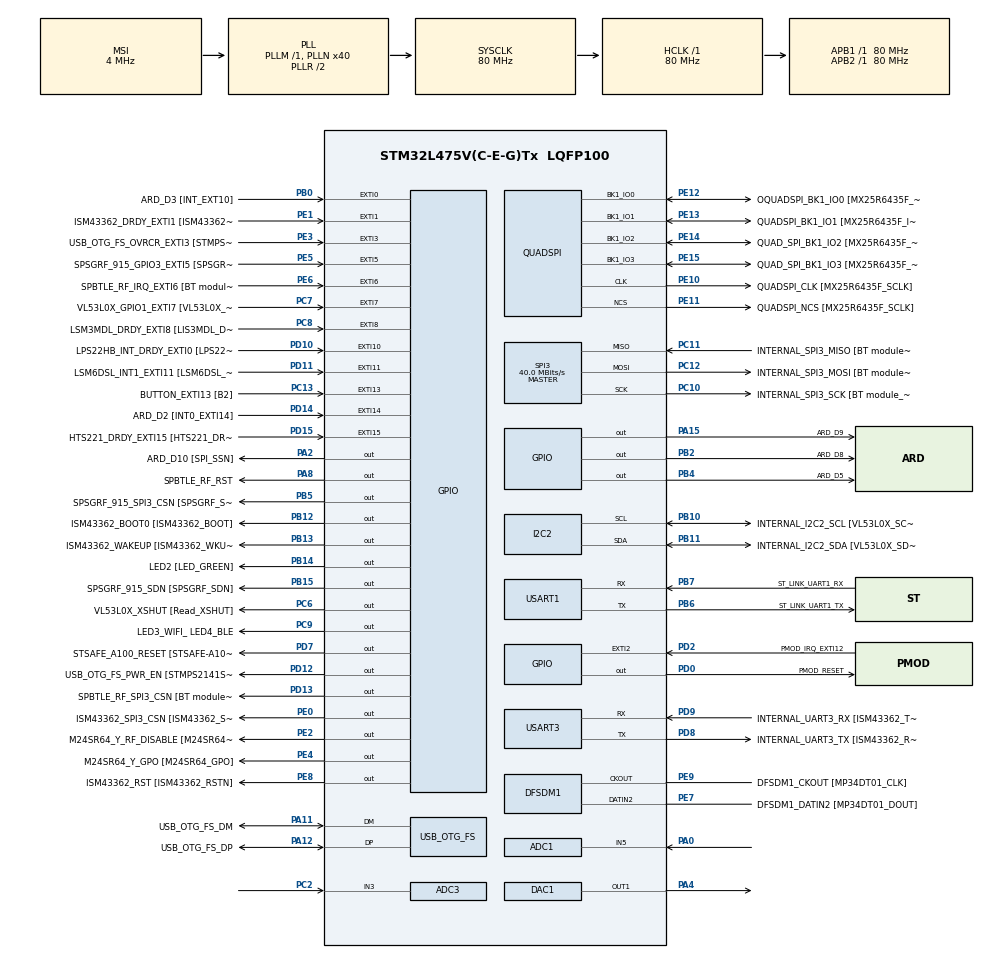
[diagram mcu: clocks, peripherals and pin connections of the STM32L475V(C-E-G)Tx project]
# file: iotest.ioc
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PD12.GPIO_Label=USB_OTG_FS_PWR_EN [STMPS2141STR_EN]
SPI3.Direction=SPI_DIRECTION_2LINES
SPI3.VirtualType=VM_MASTER
QUADSPI.ClockPrescaler=2
PB10.Mode=I2C
PC12.Signal=SPI3_MOSI
PB14.GPIO_Label=LED2 [LED_GREEN]
PC6.GPIO_Label=VL53L0X_XSHUT [Read_XSHUT]
PA6.GPIO_Label=ARD_D12 [SPI1_MISO]
PB6.GPIO_Label=ST_LINK_UART1_TX
PA15\ (JTDI).Signal=GPIO_Output
PC15-OSC32_OUT\ (PC15).Mode=LSE-External-Oscillator
PB13.Signal=GPIO_Output
PD6.GPIO_Label=PMOD_UART2_RX
PE6.GPIO_Label=SPBTLE_RF_IRQ_EXTI6 [BT module_SPI_IRQ]
RCC.SYSCLKSource=RCC_SYSCLKSOURCE_PLLCLK
PC14-OSC32_IN\ (PC14).Mode=LSE-External-Oscillator
SH.ADCx_IN16.0=ADC1_IN16
USART3.VirtualMode-Asynchronous=VM_ASYNC
PA14\ (JTCK-SWCLK).Signal=SYS_JTCK-SWCLK
PD4.Signal=USART2_RTS
RCC.APB2TimFreq_Value=80000000
PB6.Signal=USART1_TX
PC7.Signal=GPXTI7
PB6.Mode=Asynchronous
PC3.Signal=ADCx_IN4
PD0.Signal=GPIO_Output
PD8.Signal=USART3_TX
PE5.Signal=GPXTI5
PE1.Signal=GPXTI1
QUADSPI.FlashSize=23
NVIC.EXTI15_10_IRQn=true\:0\:0\:false\:false\:true\:true\:true
PB2.Signal=GPIO_Output
ADC3.SamplingTime-2\#ChannelRegularConversion=ADC_SAMPLETIME_2CYCLES_5
PD1.GPIO_Label=PMOD_SPI2_SCK
PB12.GPIO_Label=ISM43362_BOOT0 [ISM43362_BOOT]
PC4.GPIO_Label=ARD_A1 [ADC]
PE9.Signal=S_CKOUTDFSDM1
PB1.GPIO_Label=ARD_D6 [ADC1_IN6]
PE4.GPIO_Label=M24SR64_Y_GPO [M24SR64_GPO]
SH.ADCx_IN8.0=ADC2_IN8
PE2.Signal=GPIO_Output
PA8.Signal=GPIO_Output
PE13.Mode=Single Bank
ADC3.Channel-2\#ChannelRegularConversion=ADC_CHANNEL_3
PE10.Signal=QUADSPI_CLK
ADC1.SamplingTime-0\#ChannelRegularConversion=ADC_SAMPLETIME_2CYCLES_5
PA0.Signal=ADCx_IN5
Mcu.Package=LQFP100
PB9.Signal=I2C1_SDA
PB1.Signal=ADCx_IN16
SPI3.Mode=SPI_MODE_MASTER
SH.ADCx_IN14.0=ADC1_IN14
PD12.Signal=GPIO_Output
PA10.Signal=USB_OTG_FS_ID
PE12.GPIO_Label=OQUADSPI_BK1_IO0 [MX25R6435F_IO0]
PC11.Mode=Full_Duplex_Master
RCC.APB1TimFreq_Value=80000000
ADC3.OffsetNumber-2\#ChannelRegularConversion=ADC_OFFSET_NONE
PA13\ (JTMS-SWDIO).Signal=SYS_JTMS-SWDIO
PE10.GPIO_Label=QUADSPI_CLK [MX25R6435F_SCLK]
PD15.Signal=GPXTI15
PE12.Mode=Single Bank
ADC1.Rank-0\#ChannelRegularConversion=1
PD9.GPIO_Label=INTERNAL_UART3_RX [ISM43362_TX]
ADC1.OffsetNumber-0\#ChannelRegularConversion=ADC_OFFSET_NONE
PA9.GPIO_Label=USB_OTG_FS_VBUS [STMPS2141STR_OUT]
PC13.Signal=GPXTI13
PD3.Signal=USART2_CTS
PC6.Signal=GPIO_Output
PE10.Mode=Single Bank
PC2.Signal=ADCx_IN3
PB11.GPIO_Label=INTERNAL_I2C2_SDA [VL53L0X_SDA]
PD7.Signal=GPIO_Output
PD1.Signal=SPI2_SCK
PA11.GPIO_Label=USB_OTG_FS_DM
PC0.Signal=ADCx_IN1
PD10.Signal=GPXTI10
PB8.GPIO_Label=ARD_D15 [I2C1_SCL]
PA8.GPIO_Label=SPBTLE_RF_RST
PB11.Mode=I2C
SH.COMP_DAC11_group.0=DAC1_OUT1,DAC_OUT1_ExtAndInt
PE8.GPIO_Label=ISM43362_RST [ISM43362_RSTN]
PA9.Signal=USB_OTG_FS_VBUS
PE9.GPIO_Label=DFSDM1_CKOUT [MP34DT01_CLK]
PD8.Mode=Asynchronous
PB10.Signal=I2C2_SCL
PB14.Signal=GPIO_Output
PA5.Signal=SPI1_SCK
PC12.Mode=Full_Duplex_Master
PE1.GPIO_Label=ISM43362_DRDY_EXTI1 [ISM43362_DATARDY]
PE14.Signal=QUADSPI_BK1_IO2
PE15.Signal=QUADSPI_BK1_IO3
PB15.GPIO_Label=SPSGRF_915_SDN [SPSGRF_SDN]
PE8.Signal=GPIO_Output
PA1.GPIO_Label=ARD_D0 [UART4_RX]
SH.ADCx_IN4.0=ADC3_IN4
QUADSPI.FifoThreshold=4
PC7.GPIO_Label=VL53L0X_GPIO1_EXTI7 [VL53L0X_GPIO1]
PA13\ (JTMS-SWDIO).Mode=Serial_Wire
PA4.Signal=COMP_DAC11_group
PB5.Signal=GPIO_Output
ADC1.master=1
PE13.GPIO_Label=QUADSPI_BK1_IO1 [MX25R6435F_IO1]
PA5.GPIO_Label=ARD_D13 [SPI1_SCK]
PD11.Signal=GPXTI11
PE5.GPIO_Label=SPSGRF_915_GPIO3_EXTI5 [SPSGRF_GPIO_3]
PC12.GPIO_Label=INTERNAL_SPI3_MOSI [BT module_SPI_MOSI] [ISM43362_MOSI]
PA11.Signal=USB_OTG_FS_DM
ProjectManager.HeapSize=0x200
SH.ADCx_IN5.0=ADC1_IN5,IN5-Single-Ended
NVIC.PriorityGroup=NVIC_PRIORITYGROUP_4
PE3.Signal=GPXTI3
PB4\ (NJTRST).GPIO_Label=ARD_D5
PD2.Signal=GPXTI2
PB0.Signal=GPXTI0
PC1.Signal=ADCx_IN2
PD2.GPIO_Label=PMOD_IRQ_EXTI12
PE15.Mode=Single Bank
Mcu.Family=STM32L4
RCC.CortexFreq_Value=80000000
PE11.GPIO_Label=QUADSPI_NCS [MX25R6435F_SCLK]
SH.ADCx_IN2.0=ADC1_IN2
PC10.Signal=SPI3_SCK
I2C2.Timing=0x10909CEC
PD0.GPIO_Label=PMOD_RESET
PA11.Mode=Device_Only
PB0.GPIO_Label=ARD_D3 [INT_EXT10]
PC13.GPIO_Label=BUTTON_EXTI13 [B2]
PB13.GPIO_Label=ISM43362_WAKEUP [ISM43362_WKUP]
PB11.Signal=I2C2_SDA
PB15.Signal=GPIO_Output
PD9.Mode=Asynchronous
ADC3.Rank-2\#ChannelRegularConversion=1
ProjectManager.StackSize=0x400
PB3\ (JTDO-TRACESWO).Signal=SYS_JTDO-SWO
PD13.Signal=GPIO_Output
PA12.Signal=USB_OTG_FS_DP
PE11.Mode=Single Bank
PD11.GPIO_Label=LSM6DSL_INT1_EXTI11 [LSM6DSL_INT1]
RCC.HCLKFreq_Value=80000000
SH.ADCx_IN3.0=ADC3_IN3,IN3-Single-Ended
PB5.PinState=GPIO_PIN_SET
RCC.AHBFreq_Value=80000000
ADC1.Channel-0\#ChannelRegularConversion=ADC_CHANNEL_5
RCC.HSE_VALUE=8000000
PE13.Signal=QUADSPI_BK1_IO1
PC11.GPIO_Label=INTERNAL_SPI3_MISO [BT module_SPI_MISO] [ISM43362_MISO]
PA10.GPIO_Label=USB_OTG_FS_ID
PB7.Signal=USART1_RX
PE4.Signal=GPIO_Output
QUADSPI.SampleShifting=QSPI_SAMPLE_SHIFTING_HALFCYCLE
PD7.GPIO_Label=STSAFE_A100_RESET [STSAFE-A100_RESET]
PB7.GPIO_Label=ST_LINK_UART1_RX
PD13.GPIO_Label=SPBTLE_RF_SPI3_CSN [BT module_SPI_CS]
PA6.Signal=SPI1_MISO
PD5.GPIO_Label=PMOD_UART2_TX
PA2.GPIO_Label=ARD_D10 [SPI_SSN]
USB_OTG_FS.VirtualMode=Device_Only
PE0.GPIO_Label=ISM43362_SPI3_CSN [ISM43362_SSN]
SH.ADCx_IN1.0=ADC3_IN1
PB5.GPIO_Label=SPSGRF_915_SPI3_CSN [SPSGRF_SPI_CS]
PC5.Signal=ADCx_IN14
PD3.GPIO_Label=PMOD_UART2_CTS
PE7.Signal=S_DATAIN2DFSDM1
PD6.Signal=USART2_RX
PE2.GPIO_Label=M24SR64_Y_RF_DISABLE [M24SR64_RFDIS]
RCC.PLLSAI1N=24
PA3.Signal=ADCx_IN8
RCC.MSI_VALUE=4000000
PA14\ (JTCK-SWCLK).Mode=Serial_Wire
SH.ADCx_IN13.0=ADC1_IN13
PD15.GPIO_Label=HTS221_DRDY_EXTI15 [HTS221_DRDY]
PB9.GPIO_Label=ARD_D14 [I2C1_SDA]
PC10.GPIO_Label=INTERNAL_SPI3_SCK [BT module_SPI_SCLK] [ISM43362_SCK]
PC9.GPIO_Label=LED3_WIFI_ LED4_BLE
PC11.Signal=SPI3_MISO
PC8.Signal=GPXTI8
TIM6.Prescaler=79
PC4.Signal=ADCx_IN13
PC10.Mode=Full_Duplex_Master
VP_TIM6_VS_ClockSourceINT.Mode=Enable_Timer
SH.S_DATAIN2DFSDM1.0=DFSDM1_DATIN2,PDM_SPI_Input_from_ch12_and_Internal_Clock
PE14.GPIO_Label=QUAD_SPI_BK1_IO2 [MX25R6435F_IO2]
PC15-OSC32_OUT\ (PC15).Signal=RCC_OSC32_OUT
PD9.Signal=USART3_RX
PD5.Signal=USART2_TX
PA14\ (JTCK-SWCLK).GPIO_Label=SYS_JTCK_SWCLK
PB3\ (JTDO-TRACESWO).GPIO_Label=SYS_JTD0_SWO
PA12.GPIO_Label=USB_OTG_FS_DP
PD8.GPIO_Label=INTERNAL_UART3_TX [ISM43362_RX]
PC8.GPIO_Label=LSM3MDL_DRDY_EXTI8 [LIS3MDL_DRDY]
USART1.VirtualMode-Asynchronous=VM_ASYNC
TIM6.AutoReloadPreload=TIM_AUTORELOAD_PRELOAD_DISABLE
PE0.PinState=GPIO_PIN_SET
PE15.GPIO_Label=QUAD_SPI_BK1_IO3 [MX25R6435F_IO3]
ProjectManager.TargetToolchain=STM32CubeIDE
PB10.GPIO_Label=INTERNAL_I2C2_SCL [VL53L0X_SCL]
RCC.USBFreq_Value=48000000
PD10.GPIO_Label=LPS22HB_INT_DRDY_EXTI0 [LPS22HB_INT_DRDY] 
PE11.Signal=QUADSPI_NCS
PA1.Signal=UART4_RX
board=B-L475E-IOT01A2
RCC.VCOOutputFreq_Value=160000000
RCC.APB2Freq_Value=80000000
SPI3.CalculateBaudRate=40.0 MBits/s
PA13\ (JTMS-SWDIO).GPIO_Label=SYS_JTMS_SWDIO
PD4.GPIO_Label=PMOD_UART2_RTS
PE14.Mode=Single Bank
SH.S_CKOUTDFSDM1.0=DFSDM1_CKOUT,CKOUT
SH.S_CKOUTDFSDM1.1=DFSDM1_CKOUT,PDM_SPI_Input_from_ch12_and_Internal_Clock
RCC.ADCFreq_Value=48000000
PC1.GPIO_Label=ARD_A4 [ADC]
PD14.GPIO_Label=ARD_D2 [INT0_EXTI14]
PE6.Signal=GPXTI6
PA15\ (JTDI).GPIO_Label=ARD_D9
Mcu.Name=STM32L475V(C-E-G)Tx
PE0.Signal=GPIO_Output
PE7.GPIO_Label=DFSDM1_DATIN2 [MP34DT01_DOUT]
PE12.Signal=QUADSPI_BK1_IO0
PA2.Signal=GPIO_Output
PD14.Signal=GPXTI14
RCC.SYSCLKFreq_VALUE=80000000
PA7.GPIO_Label=ARD_D11 [SPI1_MOSI]
PA12.Mode=Device_Only
PC13.GPIO_ModeDefaultEXTI=GPIO_MODE_IT_FALLING
PC5.GPIO_Label=ARD_A0 [ADC]
PC14-OSC32_IN\ (PC14).Signal=RCC_OSC32_IN
PB7.Mode=Asynchronous
NVIC.EXTI9_5_IRQn=true\:0\:0\:false\:false\:true\:true\:true
PB2.GPIO_Label=ARD_D8
RCC.HSI_VALUE=16000000
ADC1.NbrOfConversionFlag=1
RCC.PLLN=40
PB8.Signal=I2C1_SCL
PE3.GPIO_Label=USB_OTG_FS_OVRCR_EXTI3 [STMPS2141STR_FAULT]
PC9.Signal=GPIO_Output
PD13.PinState=GPIO_PIN_SET
RCC.APB1Freq_Value=80000000
ADC3.NbrOfConversionFlag=1
PB12.Signal=GPIO_Output
PA7.Signal=SPI1_MOSI
PB4\ (NJTRST).Signal=GPIO_Output

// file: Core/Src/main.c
/* USER CODE BEGIN Header */
/**
  ******************************************************************************
  * @file           : main.c
  * @brief          : Main program body
  ******************************************************************************
   * @attention
  *
  * <h2><center>&copy; Copyright (c) 2021 STMicroelectronics.
  * All rights reserved.</center></h2>
  *
  * This software component is licensed by ST under BSD 3-Clause license,
  * the "License"; You may not use this file except in compliance with the
  * License. You may obtain a copy of the License at:
  *                        opensource.org/licenses/BSD-3-Clause
  *
  ******************************************************************************
  */
/* USER CODE END Header */
#include "main.h"
#include "control.h"

/* USER CODE BEGIN Includes */
#include <string.h>
#include <stdio.h>
/* USER CODE END Includes */

ADC_HandleTypeDef hadc1;
ADC_HandleTypeDef hadc3;

DAC_HandleTypeDef hdac1;

DFSDM_Channel_HandleTypeDef hdfsdm1_channel1;

I2C_HandleTypeDef hi2c2;

QSPI_HandleTypeDef hqspi;

SPI_HandleTypeDef hspi3;

TIM_HandleTypeDef htim6;

UART_HandleTypeDef huart1;
UART_HandleTypeDef huart3;

PCD_HandleTypeDef hpcd_USB_OTG_FS;

/* USER CODE BEGIN PV */
PhaseLeadController controller;
/* USER CODE END PV */

void SystemClock_Config(void);
static void MX_GPIO_Init(void);
static void MX_DFSDM1_Init(void);
static void MX_I2C2_Init(void);
static void MX_QUADSPI_Init(void);
static void MX_SPI3_Init(void);
static void MX_USART1_UART_Init(void);
static void MX_USART3_UART_Init(void);
static void MX_USB_OTG_FS_PCD_Init(void);
static void MX_DAC1_Init(void);
static void MX_ADC1_Init(void);
static void MX_TIM6_Init(void);
static void MX_ADC3_Init(void);

/* USER CODE BEGIN 0 */
uint16_t raw1, raw3, time;
uint16_t dac_out = 0;
float setpoint, feedback, error, out;
char text_buf[100];

float V_IN = (3.3/4096);
float V_OUT = 4096/3.3;
float LIN_SLOPE = 0.000916893669;
float LIN_OFFSET = -0.033772238768;
/* USER CODE END 0 */

int main(void)
{

  /* MCU Configuration--------------------------------------------------------*/

  /* Reset of all peripherals, Initializes the Flash interface and the Systick. */
  HAL_Init();

  /* USER CODE BEGIN Init */
  PhaseLeadController_Init(&controller);
  /* USER CODE END Init */

  /* Configure the system clock */
  SystemClock_Config();

  /* Initialize all configured peripherals */
  MX_GPIO_Init();
  MX_DFSDM1_Init();
  MX_I2C2_Init();
  MX_QUADSPI_Init();
  MX_SPI3_Init();
  MX_USART1_UART_Init();
  MX_USART3_UART_Init();
  MX_USB_OTG_FS_PCD_Init();
  MX_DAC1_Init();
  MX_ADC1_Init();
  MX_TIM6_Init();
  MX_ADC3_Init();
  /* USER CODE BEGIN 2 */
  HAL_DAC_Start(&hdac1, DAC_CHANNEL_1);	//PA4 -> D7
  HAL_TIM_Base_Start(&htim6);
  sprintf(text_buf, "Starting...\nCalibratng ADC...");
  HAL_UART_Transmit(&huart1, (uint8_t*)text_buf, strlen(text_buf), HAL_MAX_DELAY);
  HAL_ADCEx_Calibration_Start(&hadc1, ADC_SINGLE_ENDED);
  sprintf(text_buf, "done\n");
  HAL_UART_Transmit(&huart1, (uint8_t*)text_buf, strlen(text_buf), HAL_MAX_DELAY);
  /* USER CODE END 2 */

  /* Infinite loop */
  while (1)
  {

    /* USER CODE BEGIN 3 */
	  /**~~~~~~~~~~ MEASURING     ~~~~~~~~~~~~~~*/
//	  time = __HAL_TIM_GET_COUNTER(&htim6);
	  //get raw inputs
	  HAL_ADC_Start(&hadc1);	//PA0 -> D1
	  HAL_ADC_PollForConversion(&hadc1, HAL_MAX_DELAY);
	  raw1 = HAL_ADC_GetValue(&hadc1);

	  //map to float voltage and potentially calibrate
	  error 	= (float)(raw1*(V_IN)); //PA0 -> D1
	  //error 	= (float)(raw1*(LIN_SLOPE) + LIN_OFFSET); //linear curve fitting

	  //process
	  //out = error;
	  out = PhaseLeadController_Update(&controller, error);

      //out = setpoint;
	  dac_out 	= (uint16_t)(out*V_OUT);
	  if (dac_out > 4095){
		  dac_out = 4095;
	  } else if (dac_out <  0){
		  dac_out = 0;
	  }
	  HAL_DAC_SetValue(&hdac1, DAC_CHANNEL_1, DAC_ALIGN_12B_R, dac_out); //PA4 -> D7

//	  time = __HAL_TIM_GET_COUNTER(&htim6) - time;
//
//	  //extra info
//	  sprintf(text_buf, "error: %u (%.3f V)\tout: %u (%.3f V)\t delay %u us\r\n",
//			  raw1, error, dac_out, out, time);
//	  HAL_UART_Transmit(&huart1, (uint8_t*)text_buf, strlen(text_buf), HAL_MAX_DELAY);
//	  HAL_Delay(1000);
  }
  /* USER CODE END 3 */
}

void SystemClock_Config(void)
{
  RCC_OscInitTypeDef RCC_OscInitStruct = {0};
  RCC_ClkInitTypeDef RCC_ClkInitStruct = {0};
  RCC_PeriphCLKInitTypeDef PeriphClkInit = {0};

  /** Configure LSE Drive Capability
  */
  HAL_PWR_EnableBkUpAccess();
  __HAL_RCC_LSEDRIVE_CONFIG(RCC_LSEDRIVE_LOW);
  /** Initializes the RCC Oscillators according to the specified parameters
  * in the RCC_OscInitTypeDef structure.
  */
  RCC_OscInitStruct.OscillatorType = RCC_OSCILLATORTYPE_LSE|RCC_OSCILLATORTYPE_MSI;
  RCC_OscInitStruct.LSEState = RCC_LSE_ON;
  RCC_OscInitStruct.MSIState = RCC_MSI_ON;
  RCC_OscInitStruct.MSICalibrationValue = 0;
  RCC_OscInitStruct.MSIClockRange = RCC_MSIRANGE_6;
  RCC_OscInitStruct.PLL.PLLState = RCC_PLL_ON;
  RCC_OscInitStruct.PLL.PLLSource = RCC_PLLSOURCE_MSI;
  RCC_OscInitStruct.PLL.PLLM = 1;
  RCC_OscInitStruct.PLL.PLLN = 40;
  RCC_OscInitStruct.PLL.PLLP = RCC_PLLP_DIV7;
  RCC_OscInitStruct.PLL.PLLQ = RCC_PLLQ_DIV2;
  RCC_OscInitStruct.PLL.PLLR = RCC_PLLR_DIV2;
  if (HAL_RCC_OscConfig(&RCC_OscInitStruct) != HAL_OK)
  {
    Error_Handler();
  }
  /** Initializes the CPU, AHB and APB buses clocks
  */
  RCC_ClkInitStruct.ClockType = RCC_CLOCKTYPE_HCLK|RCC_CLOCKTYPE_SYSCLK
                              |RCC_CLOCKTYPE_PCLK1|RCC_CLOCKTYPE_PCLK2;
  RCC_ClkInitStruct.SYSCLKSource = RCC_SYSCLKSOURCE_PLLCLK;
  RCC_ClkInitStruct.AHBCLKDivider = RCC_SYSCLK_DIV1;
  RCC_ClkInitStruct.APB1CLKDivider = RCC_HCLK_DIV1;
  RCC_ClkInitStruct.APB2CLKDivider = RCC_HCLK_DIV1;

  if (HAL_RCC_ClockConfig(&RCC_ClkInitStruct, FLASH_LATENCY_4) != HAL_OK)
  {
    Error_Handler();
  }
  PeriphClkInit.PeriphClockSelection = RCC_PERIPHCLK_USART1|RCC_PERIPHCLK_USART3
                              |RCC_PERIPHCLK_I2C2|RCC_PERIPHCLK_DFSDM1
                              |RCC_PERIPHCLK_USB|RCC_PERIPHCLK_ADC;
  PeriphClkInit.Usart1ClockSelection = RCC_USART1CLKSOURCE_PCLK2;
  PeriphClkInit.Usart3ClockSelection = RCC_USART3CLKSOURCE_PCLK1;
  PeriphClkInit.I2c2ClockSelection = RCC_I2C2CLKSOURCE_PCLK1;
  PeriphClkInit.AdcClockSelection = RCC_ADCCLKSOURCE_PLLSAI1;
  PeriphClkInit.Dfsdm1ClockSelection = RCC_DFSDM1CLKSOURCE_PCLK;
  PeriphClkInit.UsbClockSelection = RCC_USBCLKSOURCE_PLLSAI1;
  PeriphClkInit.PLLSAI1.PLLSAI1Source = RCC_PLLSOURCE_MSI;
  PeriphClkInit.PLLSAI1.PLLSAI1M = 1;
  PeriphClkInit.PLLSAI1.PLLSAI1N = 24;
  PeriphClkInit.PLLSAI1.PLLSAI1P = RCC_PLLP_DIV7;
  PeriphClkInit.PLLSAI1.PLLSAI1Q = RCC_PLLQ_DIV2;
  PeriphClkInit.PLLSAI1.PLLSAI1R = RCC_PLLR_DIV2;
  PeriphClkInit.PLLSAI1.PLLSAI1ClockOut = RCC_PLLSAI1_48M2CLK|RCC_PLLSAI1_ADC1CLK;
  if (HAL_RCCEx_PeriphCLKConfig(&PeriphClkInit) != HAL_OK)
  {
    Error_Handler();
  }
  /** Configure the main internal regulator output voltage
  */
  if (HAL_PWREx_ControlVoltageScaling(PWR_REGULATOR_VOLTAGE_SCALE1) != HAL_OK)
  {
    Error_Handler();
  }
  /** Enable MSI Auto calibration
  */
  HAL_RCCEx_EnableMSIPLLMode();
}

static void MX_ADC1_Init(void)
{

  ADC_MultiModeTypeDef multimode = {0};
  ADC_ChannelConfTypeDef sConfig = {0};

  /** Common config
  */
  hadc1.Instance = ADC1;
  hadc1.Init.ClockPrescaler = ADC_CLOCK_ASYNC_DIV1;
  hadc1.Init.Resolution = ADC_RESOLUTION_12B;
  hadc1.Init.DataAlign = ADC_DATAALIGN_RIGHT;
  hadc1.Init.ScanConvMode = ADC_SCAN_DISABLE;
  hadc1.Init.EOCSelection = ADC_EOC_SINGLE_CONV;
  hadc1.Init.LowPowerAutoWait = DISABLE;
  hadc1.Init.ContinuousConvMode = DISABLE;
  hadc1.Init.NbrOfConversion = 1;
  hadc1.Init.DiscontinuousConvMode = DISABLE;
  hadc1.Init.ExternalTrigConv = ADC_SOFTWARE_START;
  hadc1.Init.ExternalTrigConvEdge = ADC_EXTERNALTRIGCONVEDGE_NONE;
  hadc1.Init.DMAContinuousRequests = DISABLE;
  hadc1.Init.Overrun = ADC_OVR_DATA_PRESERVED;
  hadc1.Init.OversamplingMode = DISABLE;
  if (HAL_ADC_Init(&hadc1) != HAL_OK)
  {
    Error_Handler();
  }
  /** Configure the ADC multi-mode
  */
  multimode.Mode = ADC_MODE_INDEPENDENT;
  if (HAL_ADCEx_MultiModeConfigChannel(&hadc1, &multimode) != HAL_OK)
  {
    Error_Handler();
  }
  /** Configure Regular Channel
  */
  sConfig.Channel = ADC_CHANNEL_5;
  sConfig.Rank = ADC_REGULAR_RANK_1;
  sConfig.SamplingTime = ADC_SAMPLETIME_2CYCLES_5;
  sConfig.SingleDiff = ADC_SINGLE_ENDED;
  sConfig.OffsetNumber = ADC_OFFSET_NONE;
  sConfig.Offset = 0;
  if (HAL_ADC_ConfigChannel(&hadc1, &sConfig) != HAL_OK)
  {
    Error_Handler();
  }

}

static void MX_ADC3_Init(void)
{

  ADC_ChannelConfTypeDef sConfig = {0};

  /** Common config
  */
  hadc3.Instance = ADC3;
  hadc3.Init.ClockPrescaler = ADC_CLOCK_ASYNC_DIV1;
  hadc3.Init.Resolution = ADC_RESOLUTION_12B;
  hadc3.Init.DataAlign = ADC_DATAALIGN_RIGHT;
  hadc3.Init.ScanConvMode = ADC_SCAN_DISABLE;
  hadc3.Init.EOCSelection = ADC_EOC_SINGLE_CONV;
  hadc3.Init.LowPowerAutoWait = DISABLE;
  hadc3.Init.ContinuousConvMode = DISABLE;
  hadc3.Init.NbrOfConversion = 1;
  hadc3.Init.DiscontinuousConvMode = DISABLE;
  hadc3.Init.ExternalTrigConv = ADC_SOFTWARE_START;
  hadc3.Init.ExternalTrigConvEdge = ADC_EXTERNALTRIGCONVEDGE_NONE;
  hadc3.Init.DMAContinuousRequests = DISABLE;
  hadc3.Init.Overrun = ADC_OVR_DATA_PRESERVED;
  hadc3.Init.OversamplingMode = DISABLE;
  if (HAL_ADC_Init(&hadc3) != HAL_OK)
  {
    Error_Handler();
  }
  /** Configure Regular Channel
  */
  sConfig.Channel = ADC_CHANNEL_3;
  sConfig.Rank = ADC_REGULAR_RANK_1;
  sConfig.SamplingTime = ADC_SAMPLETIME_2CYCLES_5;
  sConfig.SingleDiff = ADC_SINGLE_ENDED;
  sConfig.OffsetNumber = ADC_OFFSET_NONE;
  sConfig.Offset = 0;
  if (HAL_ADC_ConfigChannel(&hadc3, &sConfig) != HAL_OK)
  {
    Error_Handler();
  }

}

static void MX_DAC1_Init(void)
{

  DAC_ChannelConfTypeDef sConfig = {0};

  /** DAC Initialization
  */
  hdac1.Instance = DAC1;
  if (HAL_DAC_Init(&hdac1) != HAL_OK)
  {
    Error_Handler();
  }
  /** DAC channel OUT1 config
  */
  sConfig.DAC_SampleAndHold = DAC_SAMPLEANDHOLD_DISABLE;
  sConfig.DAC_Trigger = DAC_TRIGGER_NONE;
  sConfig.DAC_OutputBuffer = DAC_OUTPUTBUFFER_ENABLE;
  sConfig.DAC_ConnectOnChipPeripheral = DAC_CHIPCONNECT_ENABLE;
  sConfig.DAC_UserTrimming = DAC_TRIMMING_FACTORY;
  if (HAL_DAC_ConfigChannel(&hdac1, &sConfig, DAC_CHANNEL_1) != HAL_OK)
  {
    Error_Handler();
  }

}

static void MX_DFSDM1_Init(void)
{

  hdfsdm1_channel1.Instance = DFSDM1_Channel1;
  hdfsdm1_channel1.Init.OutputClock.Activation = ENABLE;
  hdfsdm1_channel1.Init.OutputClock.Selection = DFSDM_CHANNEL_OUTPUT_CLOCK_SYSTEM;
  hdfsdm1_channel1.Init.OutputClock.Divider = 2;
  hdfsdm1_channel1.Init.Input.Multiplexer = DFSDM_CHANNEL_EXTERNAL_INPUTS;
  hdfsdm1_channel1.Init.Input.DataPacking = DFSDM_CHANNEL_STANDARD_MODE;
  hdfsdm1_channel1.Init.Input.Pins = DFSDM_CHANNEL_FOLLOWING_CHANNEL_PINS;
  hdfsdm1_channel1.Init.SerialInterface.Type = DFSDM_CHANNEL_SPI_RISING;
  hdfsdm1_channel1.Init.SerialInterface.SpiClock = DFSDM_CHANNEL_SPI_CLOCK_INTERNAL;
  hdfsdm1_channel1.Init.Awd.FilterOrder = DFSDM_CHANNEL_FASTSINC_ORDER;
  hdfsdm1_channel1.Init.Awd.Oversampling = 1;
  hdfsdm1_channel1.Init.Offset = 0;
  hdfsdm1_channel1.Init.RightBitShift = 0x00;
  if (HAL_DFSDM_ChannelInit(&hdfsdm1_channel1) != HAL_OK)
  {
    Error_Handler();
  }

}

static void MX_I2C2_Init(void)
{

  hi2c2.Instance = I2C2;
  hi2c2.Init.Timing = 0x10909CEC;
  hi2c2.Init.OwnAddress1 = 0;
  hi2c2.Init.AddressingMode = I2C_ADDRESSINGMODE_7BIT;
  hi2c2.Init.DualAddressMode = I2C_DUALADDRESS_DISABLE;
  hi2c2.Init.OwnAddress2 = 0;
  hi2c2.Init.OwnAddress2Masks = I2C_OA2_NOMASK;
  hi2c2.Init.GeneralCallMode = I2C_GENERALCALL_DISABLE;
  hi2c2.Init.NoStretchMode = I2C_NOSTRETCH_DISABLE;
  if (HAL_I2C_Init(&hi2c2) != HAL_OK)
  {
    Error_Handler();
  }
  /** Configure Analogue filter
  */
  if (HAL_I2CEx_ConfigAnalogFilter(&hi2c2, I2C_ANALOGFILTER_ENABLE) != HAL_OK)
  {
    Error_Handler();
  }
  /** Configure Digital filter
  */
  if (HAL_I2CEx_ConfigDigitalFilter(&hi2c2, 0) != HAL_OK)
  {
    Error_Handler();
  }

}

static void MX_QUADSPI_Init(void)
{

  /* QUADSPI parameter configuration*/
  hqspi.Instance = QUADSPI;
  hqspi.Init.ClockPrescaler = 2;
  hqspi.Init.FifoThreshold = 4;
  hqspi.Init.SampleShifting = QSPI_SAMPLE_SHIFTING_HALFCYCLE;
  hqspi.Init.FlashSize = 23;
  hqspi.Init.ChipSelectHighTime = QSPI_CS_HIGH_TIME_1_CYCLE;
  hqspi.Init.ClockMode = QSPI_CLOCK_MODE_0;
  if (HAL_QSPI_Init(&hqspi) != HAL_OK)
  {
    Error_Handler();
  }

}

static void MX_SPI3_Init(void)
{

  /* SPI3 parameter configuration*/
  hspi3.Instance = SPI3;
  hspi3.Init.Mode = SPI_MODE_MASTER;
  hspi3.Init.Direction = SPI_DIRECTION_2LINES;
  hspi3.Init.DataSize = SPI_DATASIZE_4BIT;
  hspi3.Init.CLKPolarity = SPI_POLARITY_LOW;
  hspi3.Init.CLKPhase = SPI_PHASE_1EDGE;
  hspi3.Init.NSS = SPI_NSS_SOFT;
  hspi3.Init.BaudRatePrescaler = SPI_BAUDRATEPRESCALER_2;
  hspi3.Init.FirstBit = SPI_FIRSTBIT_MSB;
  hspi3.Init.TIMode = SPI_TIMODE_DISABLE;
  hspi3.Init.CRCCalculation = SPI_CRCCALCULATION_DISABLE;
  hspi3.Init.CRCPolynomial = 7;
  hspi3.Init.CRCLength = SPI_CRC_LENGTH_DATASIZE;
  hspi3.Init.NSSPMode = SPI_NSS_PULSE_ENABLE;
  if (HAL_SPI_Init(&hspi3) != HAL_OK)
  {
    Error_Handler();
  }

}

static void MX_TIM6_Init(void)
{

  TIM_MasterConfigTypeDef sMasterConfig = {0};

  htim6.Instance = TIM6;
  htim6.Init.Prescaler = 79;
  htim6.Init.CounterMode = TIM_COUNTERMODE_UP;
  htim6.Init.Period = 65535;
  htim6.Init.AutoReloadPreload = TIM_AUTORELOAD_PRELOAD_DISABLE;
  if (HAL_TIM_Base_Init(&htim6) != HAL_OK)
  {
    Error_Handler();
  }
  sMasterConfig.MasterOutputTrigger = TIM_TRGO_RESET;
  sMasterConfig.MasterSlaveMode = TIM_MASTERSLAVEMODE_DISABLE;
  if (HAL_TIMEx_MasterConfigSynchronization(&htim6, &sMasterConfig) != HAL_OK)
  {
    Error_Handler();
  }

}

static void MX_USART1_UART_Init(void)
{

  huart1.Instance = USART1;
  huart1.Init.BaudRate = 115200;
  huart1.Init.WordLength = UART_WORDLENGTH_8B;
  huart1.Init.StopBits = UART_STOPBITS_1;
  huart1.Init.Parity = UART_PARITY_NONE;
  huart1.Init.Mode = UART_MODE_TX_RX;
  huart1.Init.HwFlowCtl = UART_HWCONTROL_NONE;
  huart1.Init.OverSampling = UART_OVERSAMPLING_16;
  huart1.Init.OneBitSampling = UART_ONE_BIT_SAMPLE_DISABLE;
  huart1.AdvancedInit.AdvFeatureInit = UART_ADVFEATURE_NO_INIT;
  if (HAL_UART_Init(&huart1) != HAL_OK)
  {
    Error_Handler();
  }

}

static void MX_USART3_UART_Init(void)
{

  huart3.Instance = USART3;
  huart3.Init.BaudRate = 115200;
  huart3.Init.WordLength = UART_WORDLENGTH_8B;
  huart3.Init.StopBits = UART_STOPBITS_1;
  huart3.Init.Parity = UART_PARITY_NONE;
  huart3.Init.Mode = UART_MODE_TX_RX;
  huart3.Init.HwFlowCtl = UART_HWCONTROL_NONE;
  huart3.Init.OverSampling = UART_OVERSAMPLING_16;
  huart3.Init.OneBitSampling = UART_ONE_BIT_SAMPLE_DISABLE;
  huart3.AdvancedInit.AdvFeatureInit = UART_ADVFEATURE_NO_INIT;
  if (HAL_UART_Init(&huart3) != HAL_OK)
  {
    Error_Handler();
  }

}

static void MX_USB_OTG_FS_PCD_Init(void)
{

  hpcd_USB_OTG_FS.Instance = USB_OTG_FS;
  hpcd_USB_OTG_FS.Init.dev_endpoints = 6;
  hpcd_USB_OTG_FS.Init.speed = PCD_SPEED_FULL;
  hpcd_USB_OTG_FS.Init.phy_itface = PCD_PHY_EMBEDDED;
  hpcd_USB_OTG_FS.Init.Sof_enable = DISABLE;
  hpcd_USB_OTG_FS.Init.low_power_enable = DISABLE;
  hpcd_USB_OTG_FS.Init.lpm_enable = DISABLE;
  hpcd_USB_OTG_FS.Init.battery_charging_enable = DISABLE;
  hpcd_USB_OTG_FS.Init.use_dedicated_ep1 = DISABLE;
  hpcd_USB_OTG_FS.Init.vbus_sensing_enable = DISABLE;
  if (HAL_PCD_Init(&hpcd_USB_OTG_FS) != HAL_OK)
  {
    Error_Handler();
  }

}

static void MX_GPIO_Init(void)
{
  GPIO_InitTypeDef GPIO_InitStruct = {0};

  /* GPIO Ports Clock Enable */
  __HAL_RCC_GPIOE_CLK_ENABLE();
  __HAL_RCC_GPIOC_CLK_ENABLE();
  __HAL_RCC_GPIOA_CLK_ENABLE();
  __HAL_RCC_GPIOB_CLK_ENABLE();
  __HAL_RCC_GPIOD_CLK_ENABLE();

  /*Configure GPIO pin Output Level */
  HAL_GPIO_WritePin(GPIOE, M24SR64_Y_RF_DISABLE_Pin|M24SR64_Y_GPO_Pin|ISM43362_RST_Pin, GPIO_PIN_RESET);

  /*Configure GPIO pin Output Level */
  HAL_GPIO_WritePin(GPIOA, ARD_D10_Pin|SPBTLE_RF_RST_Pin|ARD_D9_Pin, GPIO_PIN_RESET);

  /*Configure GPIO pin Output Level */
  HAL_GPIO_WritePin(GPIOB, ARD_D8_Pin|ISM43362_BOOT0_Pin|ISM43362_WAKEUP_Pin|LED2_Pin
                          |SPSGRF_915_SDN_Pin|ARD_D5_Pin, GPIO_PIN_RESET);

  /*Configure GPIO pin Output Level */
  HAL_GPIO_WritePin(GPIOD, USB_OTG_FS_PWR_EN_Pin|PMOD_RESET_Pin|STSAFE_A100_RESET_Pin, GPIO_PIN_RESET);

  /*Configure GPIO pin Output Level */
  HAL_GPIO_WritePin(SPBTLE_RF_SPI3_CSN_GPIO_Port, SPBTLE_RF_SPI3_CSN_Pin, GPIO_PIN_SET);

  /*Configure GPIO pin Output Level */
  HAL_GPIO_WritePin(GPIOC, VL53L0X_XSHUT_Pin|LED3_WIFI__LED4_BLE_Pin, GPIO_PIN_RESET);

  /*Configure GPIO pin Output Level */
  HAL_GPIO_WritePin(SPSGRF_915_SPI3_CSN_GPIO_Port, SPSGRF_915_SPI3_CSN_Pin, GPIO_PIN_SET);

  /*Configure GPIO pin Output Level */
  HAL_GPIO_WritePin(ISM43362_SPI3_CSN_GPIO_Port, ISM43362_SPI3_CSN_Pin, GPIO_PIN_SET);

  /*Configure GPIO pins : M24SR64_Y_RF_DISABLE_Pin M24SR64_Y_GPO_Pin ISM43362_RST_Pin ISM43362_SPI3_CSN_Pin */
  GPIO_InitStruct.Pin = M24SR64_Y_RF_DISABLE_Pin|M24SR64_Y_GPO_Pin|ISM43362_RST_Pin|ISM43362_SPI3_CSN_Pin;
  GPIO_InitStruct.Mode = GPIO_MODE_OUTPUT_PP;
  GPIO_InitStruct.Pull = GPIO_NOPULL;
  GPIO_InitStruct.Speed = GPIO_SPEED_FREQ_LOW;
  HAL_GPIO_Init(GPIOE, &GPIO_InitStruct);

  /*Configure GPIO pins : USB_OTG_FS_OVRCR_EXTI3_Pin SPSGRF_915_GPIO3_EXTI5_Pin SPBTLE_RF_IRQ_EXTI6_Pin ISM43362_DRDY_EXTI1_Pin */
  GPIO_InitStruct.Pin = USB_OTG_FS_OVRCR_EXTI3_Pin|SPSGRF_915_GPIO3_EXTI5_Pin|SPBTLE_RF_IRQ_EXTI6_Pin|ISM43362_DRDY_EXTI1_Pin;
  GPIO_InitStruct.Mode = GPIO_MODE_IT_RISING;
  GPIO_InitStruct.Pull = GPIO_NOPULL;
  HAL_GPIO_Init(GPIOE, &GPIO_InitStruct);

  /*Configure GPIO pin : BUTTON_EXTI13_Pin */
  GPIO_InitStruct.Pin = BUTTON_EXTI13_Pin;
  GPIO_InitStruct.Mode = GPIO_MODE_IT_FALLING;
  GPIO_InitStruct.Pull = GPIO_NOPULL;
  HAL_GPIO_Init(BUTTON_EXTI13_GPIO_Port, &GPIO_InitStruct);

  /*Configure GPIO pin : ARD_D0_Pin */
  GPIO_InitStruct.Pin = ARD_D0_Pin;
  GPIO_InitStruct.Mode = GPIO_MODE_AF_PP;
  GPIO_InitStruct.Pull = GPIO_NOPULL;
  GPIO_InitStruct.Speed = GPIO_SPEED_FREQ_VERY_HIGH;
  GPIO_InitStruct.Alternate = GPIO_AF8_UART4;
  HAL_GPIO_Init(ARD_D0_GPIO_Port, &GPIO_InitStruct);

  /*Configure GPIO pins : ARD_D10_Pin SPBTLE_RF_RST_Pin ARD_D9_Pin */
  GPIO_InitStruct.Pin = ARD_D10_Pin|SPBTLE_RF_RST_Pin|ARD_D9_Pin;
  GPIO_InitStruct.Mode = GPIO_MODE_OUTPUT_PP;
  GPIO_InitStruct.Pull = GPIO_NOPULL;
  GPIO_InitStruct.Speed = GPIO_SPEED_FREQ_LOW;
  HAL_GPIO_Init(GPIOA, &GPIO_InitStruct);

  /*Configure GPIO pin : PA3 */
  GPIO_InitStruct.Pin = GPIO_PIN_3;
  GPIO_InitStruct.Mode = GPIO_MODE_ANALOG_ADC_CONTROL;
  GPIO_InitStruct.Pull = GPIO_NOPULL;
  HAL_GPIO_Init(GPIOA, &GPIO_InitStruct);

  /*Configure GPIO pins : ARD_D13_Pin ARD_D12_Pin ARD_D11_Pin */
  GPIO_InitStruct.Pin = ARD_D13_Pin|ARD_D12_Pin|ARD_D11_Pin;
  GPIO_InitStruct.Mode = GPIO_MODE_AF_PP;
  GPIO_InitStruct.Pull = GPIO_NOPULL;
  GPIO_InitStruct.Speed = GPIO_SPEED_FREQ_VERY_HIGH;
  GPIO_InitStruct.Alternate = GPIO_AF5_SPI1;
  HAL_GPIO_Init(GPIOA, &GPIO_InitStruct);

  /*Configure GPIO pin : ARD_D3_Pin */
  GPIO_InitStruct.Pin = ARD_D3_Pin;
  GPIO_InitStruct.Mode = GPIO_MODE_IT_RISING;
  GPIO_InitStruct.Pull = GPIO_NOPULL;
  HAL_GPIO_Init(ARD_D3_GPIO_Port, &GPIO_InitStruct);

  /*Configure GPIO pins : ARD_D8_Pin ISM43362_BOOT0_Pin ISM43362_WAKEUP_Pin LED2_Pin
                           SPSGRF_915_SDN_Pin ARD_D5_Pin SPSGRF_915_SPI3_CSN_Pin */
  GPIO_InitStruct.Pin = ARD_D8_Pin|ISM43362_BOOT0_Pin|ISM43362_WAKEUP_Pin|LED2_Pin
                          |SPSGRF_915_SDN_Pin|ARD_D5_Pin|SPSGRF_915_SPI3_CSN_Pin;
  GPIO_InitStruct.Mode = GPIO_MODE_OUTPUT_PP;
  GPIO_InitStruct.Pull = GPIO_NOPULL;
  GPIO_InitStruct.Speed = GPIO_SPEED_FREQ_LOW;
  HAL_GPIO_Init(GPIOB, &GPIO_InitStruct);

  /*Configure GPIO pins : LPS22HB_INT_DRDY_EXTI0_Pin LSM6DSL_INT1_EXTI11_Pin ARD_D2_Pin HTS221_DRDY_EXTI15_Pin
                           PMOD_IRQ_EXTI12_Pin */
  GPIO_InitStruct.Pin = LPS22HB_INT_DRDY_EXTI0_Pin|LSM6DSL_INT1_EXTI11_Pin|ARD_D2_Pin|HTS221_DRDY_EXTI15_Pin
                          |PMOD_IRQ_EXTI12_Pin;
  GPIO_InitStruct.Mode = GPIO_MODE_IT_RISING;
  GPIO_InitStruct.Pull = GPIO_NOPULL;
  HAL_GPIO_Init(GPIOD, &GPIO_InitStruct);

  /*Configure GPIO pins : USB_OTG_FS_PWR_EN_Pin SPBTLE_RF_SPI3_CSN_Pin PMOD_RESET_Pin STSAFE_A100_RESET_Pin */
  GPIO_InitStruct.Pin = USB_OTG_FS_PWR_EN_Pin|SPBTLE_RF_SPI3_CSN_Pin|PMOD_RESET_Pin|STSAFE_A100_RESET_Pin;
  GPIO_InitStruct.Mode = GPIO_MODE_OUTPUT_PP;
  GPIO_InitStruct.Pull = GPIO_NOPULL;
  GPIO_InitStruct.Speed = GPIO_SPEED_FREQ_LOW;
  HAL_GPIO_Init(GPIOD, &GPIO_InitStruct);

  /*Configure GPIO pins : VL53L0X_XSHUT_Pin LED3_WIFI__LED4_BLE_Pin */
  GPIO_InitStruct.Pin = VL53L0X_XSHUT_Pin|LED3_WIFI__LED4_BLE_Pin;
  GPIO_InitStruct.Mode = GPIO_MODE_OUTPUT_PP;
  GPIO_InitStruct.Pull = GPIO_NOPULL;
  GPIO_InitStruct.Speed = GPIO_SPEED_FREQ_LOW;
  HAL_GPIO_Init(GPIOC, &GPIO_InitStruct);

  /*Configure GPIO pins : VL53L0X_GPIO1_EXTI7_Pin LSM3MDL_DRDY_EXTI8_Pin */
  GPIO_InitStruct.Pin = VL53L0X_GPIO1_EXTI7_Pin|LSM3MDL_DRDY_EXTI8_Pin;
  GPIO_InitStruct.Mode = GPIO_MODE_IT_RISING;
  GPIO_InitStruct.Pull = GPIO_NOPULL;
  HAL_GPIO_Init(GPIOC, &GPIO_InitStruct);

  /*Configure GPIO pin : PMOD_SPI2_SCK_Pin */
  GPIO_InitStruct.Pin = PMOD_SPI2_SCK_Pin;
  GPIO_InitStruct.Mode = GPIO_MODE_AF_PP;
  GPIO_InitStruct.Pull = GPIO_NOPULL;
  GPIO_InitStruct.Speed = GPIO_SPEED_FREQ_VERY_HIGH;
  GPIO_InitStruct.Alternate = GPIO_AF5_SPI2;
  HAL_GPIO_Init(PMOD_SPI2_SCK_GPIO_Port, &GPIO_InitStruct);

  /*Configure GPIO pins : PMOD_UART2_CTS_Pin PMOD_UART2_RTS_Pin PMOD_UART2_TX_Pin PMOD_UART2_RX_Pin */
  GPIO_InitStruct.Pin = PMOD_UART2_CTS_Pin|PMOD_UART2_RTS_Pin|PMOD_UART2_TX_Pin|PMOD_UART2_RX_Pin;
  GPIO_InitStruct.Mode = GPIO_MODE_AF_PP;
  GPIO_InitStruct.Pull = GPIO_NOPULL;
  GPIO_InitStruct.Speed = GPIO_SPEED_FREQ_VERY_HIGH;
  GPIO_InitStruct.Alternate = GPIO_AF7_USART2;
  HAL_GPIO_Init(GPIOD, &GPIO_InitStruct);

  /*Configure GPIO pins : ARD_D15_Pin ARD_D14_Pin */
  GPIO_InitStruct.Pin = ARD_D15_Pin|ARD_D14_Pin;
  GPIO_InitStruct.Mode = GPIO_MODE_AF_OD;
  GPIO_InitStruct.Pull = GPIO_PULLUP;
  GPIO_InitStruct.Speed = GPIO_SPEED_FREQ_VERY_HIGH;
  GPIO_InitStruct.Alternate = GPIO_AF4_I2C1;
  HAL_GPIO_Init(GPIOB, &GPIO_InitStruct);

  /* EXTI interrupt init*/
  HAL_NVIC_SetPriority(EXTI9_5_IRQn, 0, 0);
  HAL_NVIC_EnableIRQ(EXTI9_5_IRQn);

  HAL_NVIC_SetPriority(EXTI15_10_IRQn, 0, 0);
  HAL_NVIC_EnableIRQ(EXTI15_10_IRQn);

}

void Error_Handler(void)
{
  __disable_irq();
  while (1)
  {
  }
}

/************************ (C) COPYRIGHT STMicroelectronics *****END OF FILE****/
